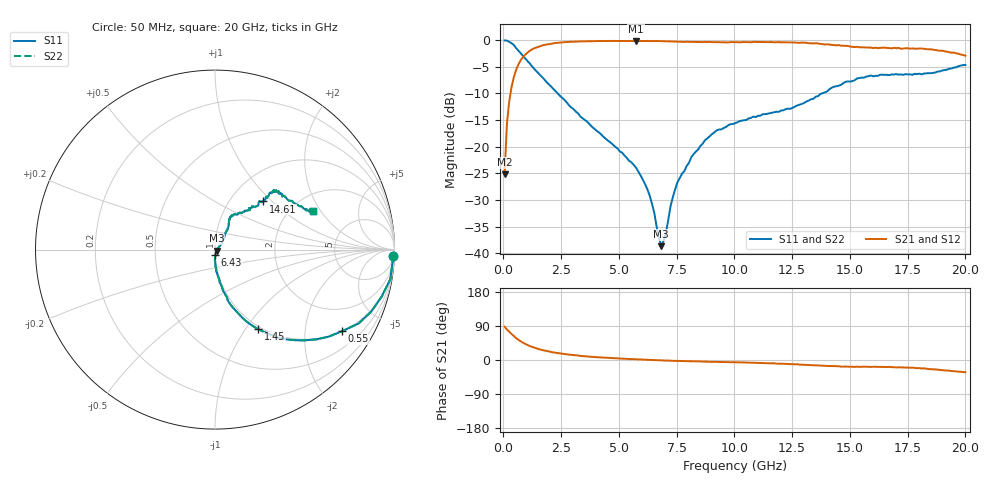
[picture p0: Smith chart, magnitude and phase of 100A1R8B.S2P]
!  American Technical Ceramics  Date:  3/13/98
!  One Norden Lane
!  Huntington Station,  NY.  11746-2102
!  Tel:  (516) 547-5700  Fax:  (516) 547-5748
!  Part Number  100A1R8B
!  Description: Porcelain, High Q, Low ESR
!  Application: Bypass, Coupling, Timing, Feedback
!  Tuning, Impedance Match, Blocking
# GHZ S DB R 50
! Freq  |S11|  S11 Ph  |S21|  S21 Ph  |S12|  S12 Ph  |S22|  S22 Ph
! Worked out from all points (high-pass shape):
!   201 points, 50 MHz to 20 GHz, reference 50 ohm
!   highest |S21| = -0.13 dB at 5.74 GHz (marker M1); lowest = -25.2 dB at 50 MHz (marker M2)
!   |S21| within 3 dB of the highest: 852.2 MHz to end of sweep
!   lowest |S11| = -38.7 dB at 6.83 GHz (marker M3), VSWR 1.02, Z = 51 - j0.595 ohm
!   |S11| at or under -10 dB: 2.344 GHz to 13.79 GHz (11.44 GHz wide, 142 % of centre)
!   |S22| runs from -38.7 to 0.0 dB; largest |S21 - S12| = 0
!   S11 on the Smith chart (normalised r, x): 50 MHz: 10, -57; 550 MHz: 1.00, -3.11; 1.45 GHz: 0.97, -1.15; 6.43 GHz: 1.00, -0.06; 14.61 GHz: 1.41, +0.89; 20 GHz: 2.60, +1.69
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0.05  -0.05 -1.9  -25.21 87.8  -25.21 87.8  -0.05 -1.9
0.15  -0.08 -9.6  -15.70 80.7  -15.70 80.7  -0.08 -9.6
0.25  -0.31 -15.7  -11.49 74.6  -11.49 74.6  -0.31 -15.7
0.55  -1.50 -32.7  -5.55 57.7  -5.55 57.7  -1.50 -32.7
0.95  -3.47 -48.8  -2.69 42.3  -2.69 42.3  -3.47 -48.8
1.45  -5.93 -61.4  -1.34 30.3  -1.34 30.3  -5.93 -61.4
2.24  -9.50 -73.1  -0.53 19.5  -0.53 19.5  -9.50 -73.1
3.44  -14.71 -82.1  -0.21 10.4  -0.21 10.4  -14.71 -82.1
5.74  -23.94 -90.7  -0.13 1.8  -0.13 1.8  -23.94 -90.7
6.43  -30.73 -86.5  -0.16 0.2  -0.16 0.2  -30.73 -86.5
6.73  -37.06 -60.6  -0.17 -0.8  -0.17 -0.8  -37.06 -60.6
6.83  -38.69 -30.1  -0.18 -1.1  -0.18 -1.1  -38.69 -30.1
7.03  -36.33 14.6  -0.21 -1.5  -0.21 -1.5  -36.33 14.6
7.53  -26.72 41.1  -0.28 -2.6  -0.28 -2.6  -26.72 41.1
8.13  -22.02 50.9  -0.30 -3.3  -0.30 -3.3  -22.02 50.9
9.03  -17.64 58.0  -0.37 -5.0  -0.37 -5.0  -17.64 58.0
10.03  -15.58 61.9  -0.36 -6.0  -0.36 -6.0  -15.58 61.9
13.42  -11.01 50.8  -0.61 -14.2  -0.61 -14.2  -11.01 50.8
14.61  -8.40 44.9  -1.04 -17.3  -1.04 -17.3  -8.40 44.9
16.71  -6.56 43.6  -1.47 -18.2  -1.47 -18.2  -6.56 43.6
18.2  -6.27 38.2  -1.62 -21.9  -1.62 -21.9  -6.27 38.2
20  -4.66 21.4  -2.91 -32.2  -2.91 -32.2  -4.66 21.4
